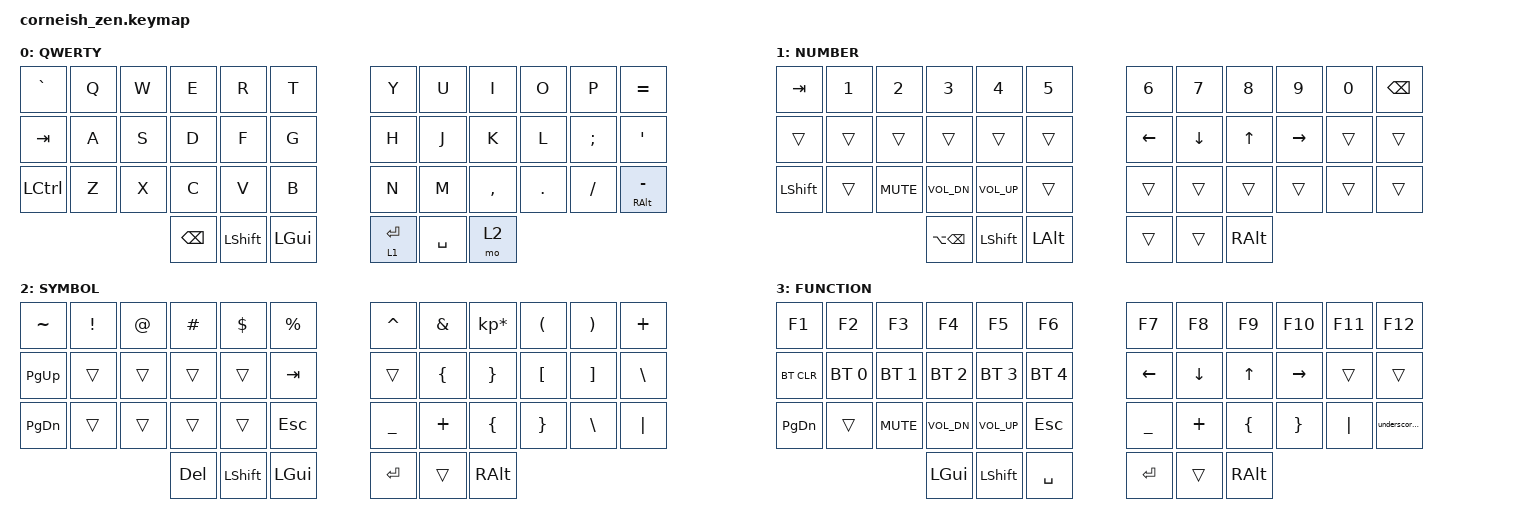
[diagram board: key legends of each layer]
#include <behaviors.dtsi>
#include <dt-bindings/zmk/keys.h>
#include <dt-bindings/zmk/bt.h>

/ {
  chosen {
    zmk,matrix_transform = &default_transform;
    //zmk,matrix_transform = &five_column_transform;
  };
};

/ {
    combos {
        compatible = "zmk,combos";
        combo_fd_esc {
            timeout-ms = <50>;
            key-positions = <16 15>;
            bindings = <&qlt 2 ESC>;
        };
        combo_layer_3 {
            timeout-ms = <50>;
            key-positions = <38 39>;
            bindings = <&mo 3>;
        };
        combo_symbol_layer {
            timeout-ms = <1000>;
            key-positions = <37 40>;
            bindings = <&mo 2>;
        };
    };
};

/ {
    behaviors {
        
        underscorePipe: underscore_pipe {
            compatible = "zmk,behavior-mod-morph";
            label = "UNDERSCORE_PIPE";
            #binding-cells = <0>;
            bindings = <&kp UNDER>, <&kp PIPE>;
            mods = <(MOD_LSFT|MOD_RSFT)>;
        };

        qlt: quick-layer-tap {
            compatible = "zmk,behavior-hold-tap";
            label = "QUICK-LAYER-TAP";
            #binding-cells = <2>;
            flavor = "balanced";
            tapping-term-ms = <180>;
            quick-tap-ms = <125>;
            bindings = <&mo>, <&kp>;
        };

        blt: balance-tap {
            compatible = "zmk,behavior-hold-tap";
            label = "BALANCE-TAP";
            #binding-cells = <2>;
            flavor = "balanced";
            tapping-term-ms = <180>;
            quick-tap-ms = <125>;
            bindings = <&kp>, <&kp>;
        };
    };
};

/ {
        keymap {
                compatible = "zmk,keymap";

                default_layer {
                        label = "QWERTY";
// DEFAULT
// -----------------------------------------------------------------------------------------
// |  TAB |  Q  |  W  |  E  |  R  |  T  |   |  Y  |  U   |  I  |  O  |  P  | BKSP |
// | CTRL |  A  |  S  |  D  |  F  |  G  |   |  H  |  J   |  K  |  L  |  ;  |  '   |
// | SHFT |  Z  |  X  |  C  |  V  |  B  |   |  N  |  M   |  ,  |  .  |  /  |   -  |
//                    | GUI | LWR | SPC |   | ENT | RSE  | ALT |

//                         bindings = <
//   &kp TAB   &kp Q &kp W &kp E &kp R &kp T   &kp Y &kp U  &kp I     &kp O   &kp P    &kp BSPC
//   &kp LCTRL &kp A &kp S &kp D &kp F &kp G   &kp H &kp J  &kp K     &kp L   &kp SEMI &kp SQT
//   &kp LSHFT &kp Z &kp X &kp C &kp V &kp B   &kp N &kp M  &kp COMMA &kp DOT &kp FSLH &kp MINUS
//                  &kp BSPC &mo 1 &kp SPACE   &kp RET &mo 2 &kp RALT
//                        >;


// -----------------------------------------------------------------------------------------
// |  `   |  Q  |  W  |  E  |  R  |  T  |   |  Y  |  U   |  I  |  O  |  P  |   =  |
// | TAB  |  A  |  S  |  D  |  F  |  G  |   |  H  |  J   |  K  |  L  |  ;  |  RALT or '   |
// | CTRL |  Z  |  X  |  C  |  V  |  B  |   |  N  |  M   |  ,  |  .  |  /  |  RALT or -   |
//                    | BKSP | SHFT | GUI |   | ENT | SPC  | to SYMBOL |
                        bindings = <
   &kp GRAVE &kp Q &kp W &kp E &kp R    &kp T   &kp Y &kp U  &kp I     &kp O   &kp P    &kp EQUAL
   &kp TAB   &kp A &kp S &kp D &kp F    &kp G   &kp H &kp J  &kp K     &kp L   &kp SEMI &kp SQT
   &kp LCTRL &kp Z &kp X &kp C &kp V    &kp B   &kp N &kp M  &kp COMMA &kp DOT &kp FSLH &blt RALT MINUS
                  &kp BSPC  &kp LSHIFT  &kp LGUI   &qlt 1 RET &kp SPACE &mo 2
                        >;
                };
                lower_layer {
                        label = "NUMBER";
// -----------------------------------------------------------------------------------------
// |  TAB |  1  |  2    |  3    |  4    |  5  |   |  6  |  7  |  8  |  9  |  0  | BKSP |
// |      |     |       |       |       |     |   | LFT | DWN |  UP | RGT |     |      |
// | SHFT |     | VM_M  | VM_DN | VM_UP |     |   |     |     |     |     |     |      |
//                      |ALT BCK|       | ALT |   |     |     | ALT |
                        bindings = <
   &kp TAB    &kp N1       &kp N2       &kp N3        &kp N4        &kp N5      &kp N6   &kp N7   &kp N8 &kp N9    &kp N0 &kp BSPC
   &trans     &trans       &trans       &trans        &trans        &trans      &kp LEFT &kp DOWN &kp UP &kp RIGHT &trans &trans
   &kp LSHFT  &trans       &kp C_MUTE   &kp C_VOL_DN  &kp C_VOL_UP  &trans      &trans   &trans   &trans &trans    &trans &trans
                          	        &kp LA(BSPC)  &kp LSHIFT    &kp LALT    &trans  &trans   &kp RALT
                        >;
                };

                raise_layer {
                        label = "SYMBOL";
// -----------------------------------------------------------------------------------------
// |  ~   |  !  |  @  |  #  |   $  |  %  |   |  ^  |  &  |  *  |  (  |  )  |  +   |
// | PG_UP |     |     |     |      | TAB |   |     |  {  |  }  |  [  |  ]  |  \   |
// | PG_DN |     |     |     |      | ESC |   |  _  |  +  |  {  |  }  | \   | "|" |
//                    | DEL | SHFT | GUI |   | ENT |     | ALT |
                        bindings = <
   &kp TILDE &kp EXCL &kp AT &kp HASH &kp DLLR &kp PRCNT   &kp CARET &kp AMPS  &kp KP_MULTIPLY &kp LPAR   &kp RPAR &kp PLUS
   &kp PG_UP &trans   &trans &trans   &trans   &kp TAB     &trans    &kp LBRC  &kp RBRC        &kp LBKT   &kp RBKT &kp BSLH 
   &kp PG_DN &trans   &trans &trans   &trans   &kp ESC     &kp UNDER &kp PLUS  &kp LBRC        &kp RBRC   &kp BSLH &kp PIPE
                    	     &kp DEL &kp LSHIFT   &kp LGUI   &kp RET   &trans    &kp RALT
                        >;
                };

                fn_layer {
                        label = "FUNCTION";
// -----------------------------------------------------------------------------------------
// |  F1    | F2  |  F3   |  F4   |  F5   | F6  |   |  F7 |  F8 |  F9 | F10 | F11 | F12  |
// | BTCLR  | BT1 | BT2   | BT3   | BT4   | BT5 |   | LFT | DWN |  UP | RGT |     |      |
// | PG_DN  |     | VM_M  | VM_DN | VM_UP | ESC |   |  _  |  +  |  {  |  }  | "|" | _"|" |
//                    | GUI | SHFT | SPC |   | ENT |     | ALT |
                        bindings = <
   &kp F1     &kp F2        &kp F3        &kp F4        &kp F5        &kp F6        &kp F7    &kp F8    &kp F9          &kp F10   &kp F11   &kp F12
   &bt BT_CLR &bt BT_SEL 0  &bt BT_SEL 1  &bt BT_SEL 2  &bt BT_SEL 3  &bt BT_SEL 4  &kp LEFT  &kp DOWN  &kp UP          &kp RIGHT &trans    &trans
   &kp PG_DN  &trans        &kp C_MUTE    &kp C_VOL_DN  &kp C_VOL_UP  &kp ESC       &kp UNDER &kp PLUS  &kp LBRC        &kp RBRC  &kp PIPE  &underscorePipe
                	    &kp LGUI      &kp LSHIFT    &kp SPACE     &kp RET       &trans    &kp RALT
                        >;
                };


        };
};
